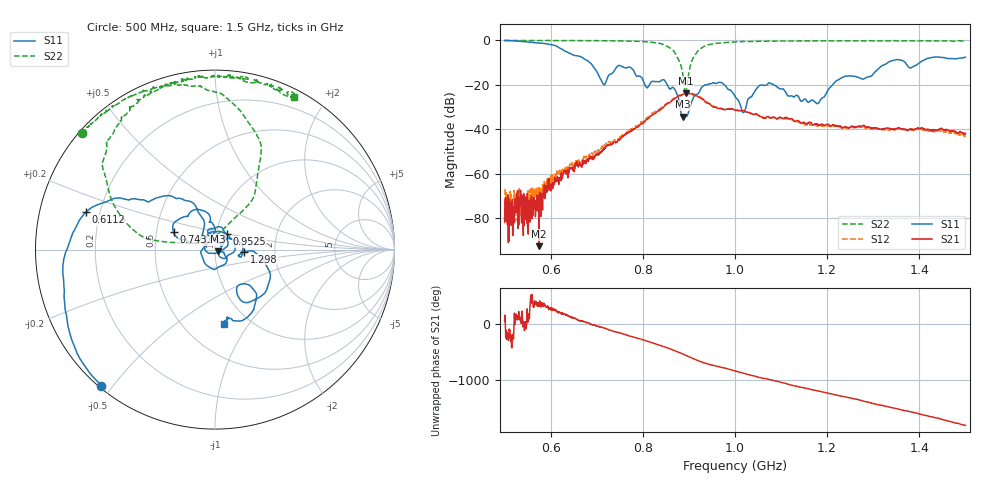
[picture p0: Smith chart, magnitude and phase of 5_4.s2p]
!Agilent Technologies,E8364B,US42250235,A.06.04.32
!Agilent E8364B: A.06.04.32
!Date: Friday, January 15, 2021 14:51:50
!Correction: S11(Full 2 Port(1,2)) S21(Full 2 Port(1,2)) S12(Full 2 Port(1,2)) S22(Full 2 Port(1,2))
!S2P File: Measurements: S11, S21, S12, S22:
# Hz S  dB  R 50
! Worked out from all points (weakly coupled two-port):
!   1601 points, 500 MHz to 1.5 GHz, reference 50 ohm
!   highest |S21| = -23.87 dB at 893.1 MHz (marker M1); lowest = -92.4 dB at 574.4 MHz (marker M2)
!   lowest |S11| = -34.3 dB at 886.9 MHz (marker M3), VSWR 1.04, Z = 51.7 - j1.03 ohm
!   |S11| at or under -10 dB: 684.8 MHz to 1.332 GHz (647.1 MHz wide, 64.2 % of centre); 1.369 GHz to 1.401 GHz (31.61 MHz wide, 2.28 % of centre)
!   |S22| runs from -24.5 to -0.1 dB; largest |S21 - S12| = 0.0075
!   S11 on the Smith chart (normalised r, x): 500 MHz: 0.01, -0.47; 611.2 MHz: 0.15, +0.14; 743.1 MHz: 0.62, +0.13; 952.5 MHz: 1.13, +0.20; 1.298 GHz: 1.39, -0.03; 1.5 GHz: 0.76, -0.77
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5e8  -0.11 -129.9  -81.77 63.4  -66.98 168.4  -0.13 138.7
5.1375e8  -0.20 -136.2  -78.04 150.1  -69.20 155.8  -0.15 136.8
5.74375e8  -1.29 -168.0  -92.44 -23.8  -70.91 -3.6  -0.15 131.4
6.1125e8  -2.51 163.9  -62.54 -103.8  -60.03 -121.0  -0.14 127.6
6.66875e8  -7.57 134.8  -56.45 61.1  -54.56 63.5  -0.19 121.8
7.15e8  -19.84 138.9  -48.33 -62.6  -47.36 -69.1  -0.24 116.4
7.43125e8  -12.05 157.4  -45.70 -138.8  -44.71 -144.4  -0.31 110.7
8.3375e8  -18.65 96.5  -31.72 -6.7  -31.10 -12.1  -1.30 86.8
8.6875e8  -21.92 25.6  -26.25 -108.3  -25.82 -114.4  -5.39 62.6
8.86875e8  -34.33 -31.3  -24.27 -170.9  -24.03 -175.6  -15.49 61.4
8.93125e8  -33.82 -47.8  -23.87 164.8  -23.46 160.4  -24.49 126.7
9.13125e8  -24.69 171.1  -24.87 92.9  -24.35 87.3  -6.64 166.6
9.525e8  -19.07 52.5  -30.01 -13.8  -29.52 -21.7  -1.59 136.3
1e9  -25.10 -53.3  -31.45 -114.7  -31.26 -121.2  -0.76 121.2
1.01875e9  -32.45 -41.4  -31.72 -155.6  -31.85 -163.7  -0.62 117.0
1.049375e9  -21.06 -40.6  -33.50 136.1  -33.51 129.9  -0.53 112.7
1.07625e9  -19.26 -97.2  -34.88 88.0  -34.76 81.8  -0.42 108.5
1.166875e9  -26.89 27.3  -37.59 -90.2  -38.01 -95.0  -0.36 97.6
1.235625e9  -16.47 14.2  -39.19 148.1  -39.28 142.6  -0.29 90.9
1.2975e9  -15.80 -4.1  -39.59 25.4  -39.81 26.7  -0.24 85.7
1.33375e9  -9.74 -21.5  -39.62 -37.6  -40.07 -38.1  -0.30 79.7
1.5e9  -7.58 -83.4  -41.84 -9.4  -43.12 -7.9  -0.38 62.5
